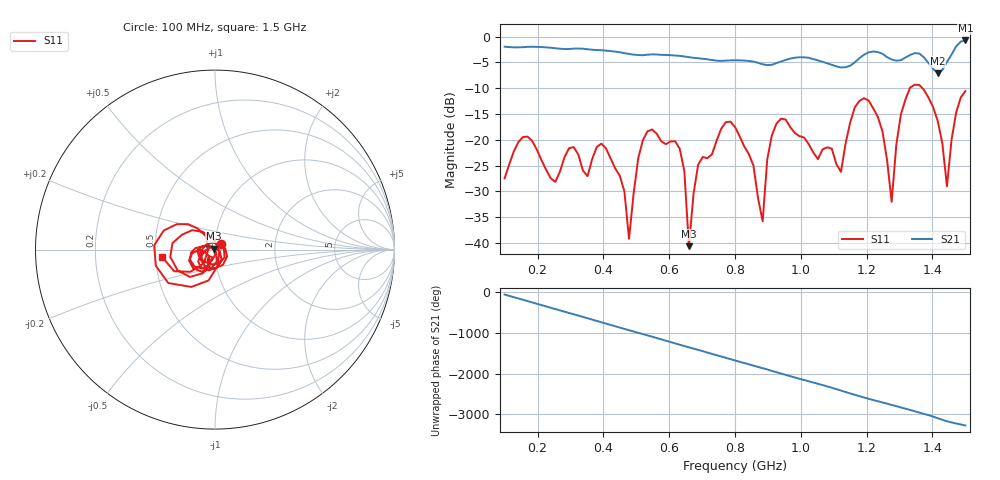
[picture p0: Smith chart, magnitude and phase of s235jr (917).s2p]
! NanoVNA-App
! Date: 2025-09-25 15:11:18
! Start: 100MHz Stop: 1,5GHz Points: 101
! S-Parameter data: F S11 S21 S12 S22
# Hz S RI R 50
!  Frequency  S11_Real  S11_Imag  S21_Real  S21_Imag  S12_Real  S12_Imag  S22_Real  S22_Imag
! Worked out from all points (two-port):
!   101 points, 100 MHz to 1.5 GHz, reference 50 ohm
!   highest |S21| = -0.76 dB at 1.5 GHz (marker M1); lowest = -7.1 dB at 1.416 GHz (marker M2)
!   |S21| within 3 dB of the highest: start of sweep to 634.1 MHz; 1.187 GHz to 1.257 GHz (70.16 MHz wide, 5.74 % of centre) (the widest 2 of 4)
!   lowest |S11| = -40.6 dB at 660 MHz (marker M3), VSWR 1.02, Z = 49.3 + j0.548 ohm
!   |S11| at or under -10 dB: start of sweep to 1.331 GHz; 1.369 GHz to end of sweep
!   S12 and S22 are empty: the file has one direction only
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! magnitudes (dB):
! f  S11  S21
! 100 MHz  -27.5  -2.0
! 156 MHz  -19.5  -2.1
! 338 MHz  -26.0  -2.4
! 408 MHz  -21.7  -2.7
! 478 MHz  -39.2  -3.4
! 520 MHz  -20.1  -3.6
! 576 MHz  -20.3  -3.6
! 632 MHz  -21.7  -3.7
! 660 MHz  -40.6  -4.0
! 688 MHz  -24.8  -4.2
! 800 MHz  -17.5  -4.6
! 884 MHz  -35.8  -5.4
! 926 MHz  -16.9  -5.1
! 1.038 GHz  -22.5  -4.4
! 1.122 GHz  -26.2  -6.0
! 1.206 GHz  -12.4  -3.1
! 1.276 GHz  -32.0  -4.4
! 1.304 GHz  -15.1  -4.6
! 1.332 GHz  -9.9  -3.6
! 1.416 GHz  -16.3  -7.1
! 1.444 GHz  -29.0  -4.9
! 1.5 GHz  -10.6  -0.8
